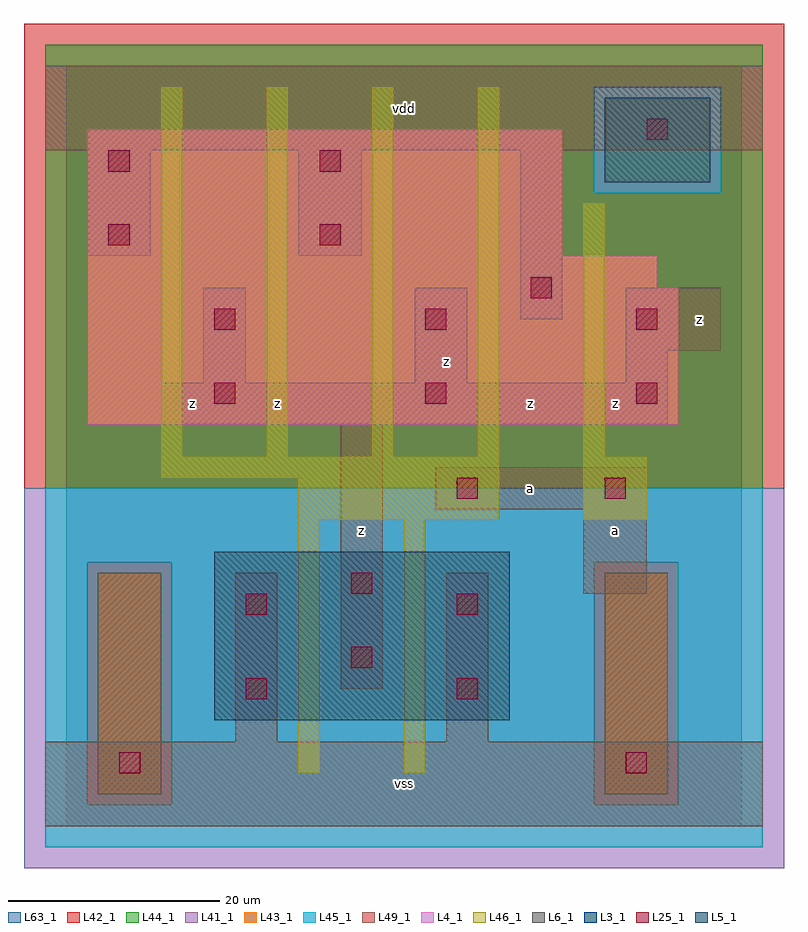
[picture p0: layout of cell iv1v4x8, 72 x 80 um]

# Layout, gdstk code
import gdstk
lib = gdstk.Library(unit=1e-6, precision=1e-09)
def R(c, l, rs):  # rectangles x0, y0, x1, y1
    for r in rs: c.add(gdstk.rectangle(r[:2], r[2:], *l))
def A(c, l, x, y, w, h, nx, ny, dx, dy):  # array of equal rectangles
    R(c, l, [(x+i*dx, y+j*dy, x+i*dx+w, y+j*dy+h) for i in range(nx) for j in range(ny)])
L3_1 = (3, 1)
L4_1 = (4, 1)
L5_1 = (5, 1)
L6_1 = (6, 1)
L25_1 = (25, 1)
L41_1 = (41, 1)
L42_1 = (42, 1)
L43_1 = (43, 1)
L44_1 = (44, 1)
L45_1 = (45, 1)
L46_1 = (46, 1)
L49_1 = (49, 1)
L63_1 = (63, 1)

iv1v4x8 = lib.new_cell('iv1v4x8')
R(iv1v4x8, L3_1, [(14,10,42,26)])
R(iv1v4x8, L4_1, [(2,38,58,51), (2,51,56,54), (2,54,47,66)])
R(iv1v4x8, L5_1, [(51,61,61,69)])
R(iv1v4x8, L6_1, [(3,3,9,24), (3,3,9,24), (51,3,57,24), (51,3,57,24)])
A(iv1v4x8, L25_1, 14, 40, 2, 2, 3, 2, 20, 7)
R(iv1v4x8, L25_1, [(5,5,7,7), (53,5,55,7), (17,12,19,14), (37,12,39,14), (27,15,29,17), (17,20,19,22), (37,20,39,22), (27,22,29,24), (37,31,39,33), (51,31,53,33), (44,50,46,52), (4,55,6,57), (24,55,26,57), (4,62,6,64), (24,62,26,64), (55,65,57,67)])
R(iv1v4x8, L41_1, [(-4,-4,68,32)])
R(iv1v4x8, L42_1, [(-4,32,68,76)])
R(iv1v4x8, L43_1, [(3,3,9,24), (51,3,57,24), (14,10,42,26), (2,38,58,51), (2,51,56,54), (2,54,47,66), (51,61,61,69)])
R(iv1v4x8, L44_1, [(2,2,10,25), (50,2,58,25), (-2,32,66,60), (-2,60,50,70), (62,60,66,70), (-2,70,66,74)])
R(iv1v4x8, L45_1, [(-2,-2,66,2), (-2,2,2,25), (10,2,50,25), (58,2,66,25), (-2,25,66,32), (50,60,62,70)])
A(iv1v4x8, L46_1, 9, 35, 2, 35, 4, 1, 10, 0)
R(iv1v4x8, L46_1, [(22,5,24,29), (32,5,34,29), (22,29,41,33), (49,29,55,35), (9,33,41,35), (49,35,51,59)])
R(iv1v4x8, L49_1, [(-2,0,66,8), (16,8,20,24), (36,8,40,24), (26,13,30,38), (49,22,55,30), (35,30,55,34), (9,38,57,42), (13,42,17,51), (33,42,38,51), (53,42,57,45), (53,45,62,51), (43,48,47,64), (2,54,8,64), (22,54,28,64), (-2,64,66,72)])
R(iv1v4x8, L63_1, [(0,0,64,72)])
iv1v4x8.add(gdstk.Label('z', (12,40), layer=49, texttype=1))
iv1v4x8.add(gdstk.Label('z', (28,28), layer=49, texttype=1))
iv1v4x8.add(gdstk.Label('z', (20,40), layer=49, texttype=1))
iv1v4x8.add(gdstk.Label('vss', (32,4), layer=49, texttype=1))
iv1v4x8.add(gdstk.Label('a', (44,32), layer=49, texttype=1))
iv1v4x8.add(gdstk.Label('z', (44,40), layer=49, texttype=1))
iv1v4x8.add(gdstk.Label('z', (36,44), layer=49, texttype=1))
iv1v4x8.add(gdstk.Label('vdd', (32,68), layer=49, texttype=1))
iv1v4x8.add(gdstk.Label('a', (52,28), layer=49, texttype=1))
iv1v4x8.add(gdstk.Label('z', (52,40), layer=49, texttype=1))
iv1v4x8.add(gdstk.Label('z', (60,48), layer=49, texttype=1))

lib.write_gds('iv1v4x8.gds')
